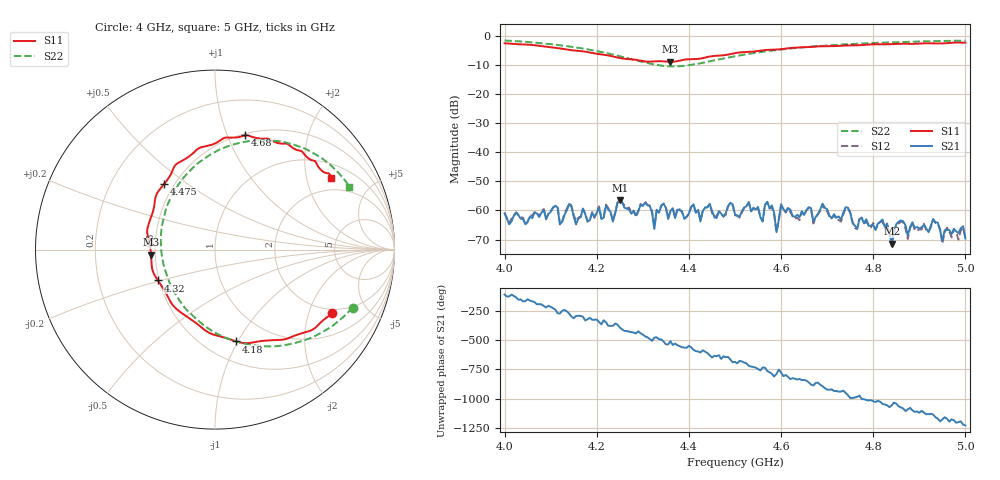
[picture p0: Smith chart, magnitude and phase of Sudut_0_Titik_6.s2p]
# Hz S RI R 50
! CMT, C1220, 16058040, 17.2.0/1
! Date: 15/08/2018 12:08:15
! Data: Format (Calibration Info)
! Freq  S11: Re/Im (F2)  S21: Re/Im (F2)  S12: Re/Im (F2)  S22: Re/Im (F2)
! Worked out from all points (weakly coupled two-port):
!   201 points, 4 GHz to 5 GHz, reference 50 ohm
!   highest |S21| = -56.37 dB at 4.25 GHz (marker M1); lowest = -71.4 dB at 4.84 GHz (marker M2)
!   lowest |S11| = -8.9 dB at 4.36 GHz (marker M3), VSWR 2.11, Z = 23.7 - j1.56 ohm
!   |S11| at or under -10 dB: nowhere
!   |S22| runs from -10.5 to -1.6 dB; largest |S21 - S12| = 0.00012
!   S11 on the Smith chart (normalised r, x): 4 GHz: 1.82, -2.89; 4.18 GHz: 0.70, -0.98; 4.32 GHz: 0.49, -0.19; 4.475 GHz: 0.44, +0.41; 4.68 GHz: 0.52, +1.16; 5 GHz: 1.49, +2.82
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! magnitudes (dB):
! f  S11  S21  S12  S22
! 4 GHz  -2.6  -61.0  -60.8  -1.6
! 4.17 GHz  -5.3  -59.3  -59.5  -4.4
! 4.18 GHz  -5.6  -63.7  -63.9  -4.7
! 4.22 GHz  -6.6  -58.3  -58.0  -5.9
! 4.235 GHz  -7.1  -63.8  -63.4  -6.4
! 4.25 GHz  -7.6  -56.4  -56.3  -7.0
! 4.32 GHz  -8.8  -60.8  -60.2  -9.7
! 4.325 GHz  -8.8  -66.4  -65.6  -9.9
! 4.335 GHz  -8.7  -60.8  -60.5  -10.1
! 4.36 GHz  -8.9  -60.2  -60.4  -10.5
! 4.475 GHz  -6.7  -62.1  -62.1  -7.8
! 4.5 GHz  -6.0  -61.3  -61.7  -7.0
! 4.56 GHz  -5.0  -63.8  -63.7  -5.5
! 4.57 GHz  -4.8  -57.0  -57.0  -5.3
! 4.59 GHz  -4.7  -67.4  -67.4  -4.9
! 4.6 GHz  -4.6  -57.8  -58.3  -4.7
! 4.67 GHz  -3.8  -63.8  -64.5  -3.7
! 4.68 GHz  -3.6  -61.3  -61.2  -3.5
! 4.835 GHz  -2.9  -67.5  -68.1  -2.3
! 4.84 GHz  -2.8  -71.4  -72.3  -2.2
! 4.86 GHz  -2.7  -63.4  -63.8  -2.1
! 5 GHz  -2.4  -69.6  -69.2  -1.6
